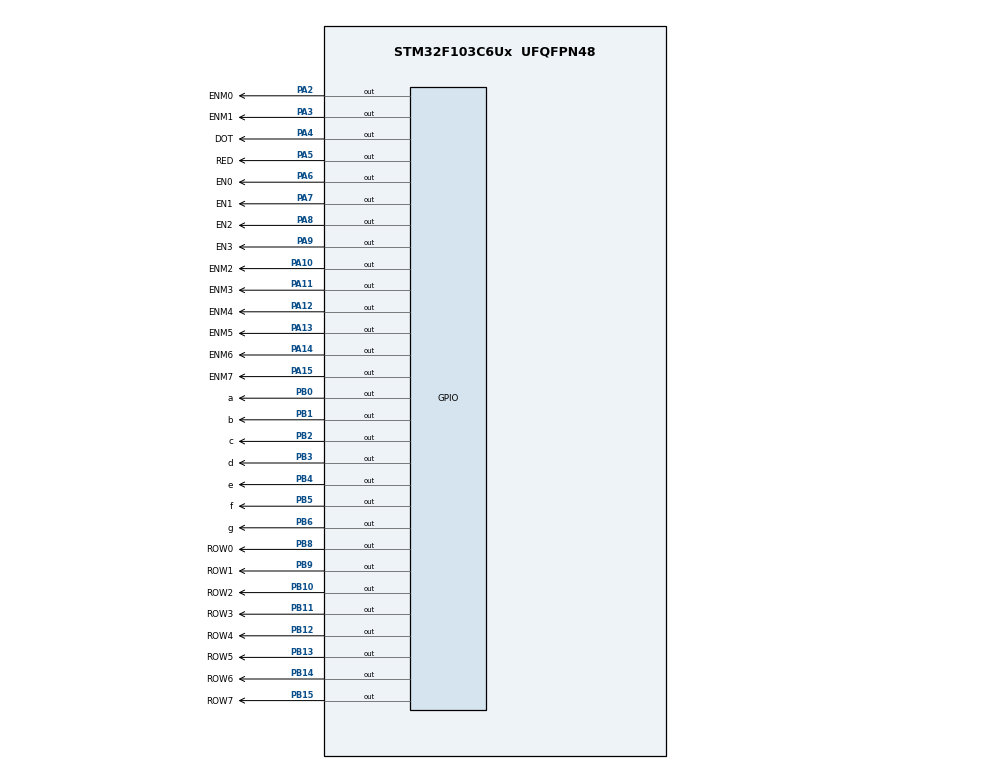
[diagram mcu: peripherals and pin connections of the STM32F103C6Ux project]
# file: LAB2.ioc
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Mcu.Family=STM32F1
Mcu.Name=STM32F103C6Ux
Mcu.Package=UFQFPN48
NVIC.PriorityGroup=NVIC_PRIORITYGROUP_4
NVIC.TIM2_IRQn=true\:0\:0\:false\:false\:true\:true\:true
PA10.GPIO_Label=ENM2
PA10.Signal=GPIO_Output
PA11.GPIO_Label=ENM3
PA11.Signal=GPIO_Output
PA12.GPIO_Label=ENM4
PA12.Signal=GPIO_Output
PA13.GPIO_Label=ENM5
PA13.Signal=GPIO_Output
PA14.GPIO_Label=ENM6
PA14.Signal=GPIO_Output
PA15.GPIO_Label=ENM7
PA15.Signal=GPIO_Output
PA2.GPIO_Label=ENM0
PA2.Signal=GPIO_Output
PA3.GPIO_Label=ENM1
PA3.Signal=GPIO_Output
PA4.GPIO_Label=DOT
PA4.Signal=GPIO_Output
PA5.GPIO_Label=RED
PA5.Signal=GPIO_Output
PA6.GPIO_Label=EN0
PA6.Signal=GPIO_Output
PA7.GPIO_Label=EN1
PA7.Signal=GPIO_Output
PA8.GPIO_Label=EN2
PA8.Signal=GPIO_Output
PA9.GPIO_Label=EN3
PA9.Signal=GPIO_Output
PB0.GPIO_Label=a
PB0.Signal=GPIO_Output
PB1.GPIO_Label=b
PB1.Signal=GPIO_Output
PB10.GPIO_Label=ROW2
PB10.Signal=GPIO_Output
PB11.GPIO_Label=ROW3
PB11.Signal=GPIO_Output
PB12.GPIO_Label=ROW4
PB12.Signal=GPIO_Output
PB13.GPIO_Label=ROW5
PB13.Signal=GPIO_Output
PB14.GPIO_Label=ROW6
PB14.Signal=GPIO_Output
PB15.GPIO_Label=ROW7
PB15.Signal=GPIO_Output
PB2.GPIO_Label=c
PB2.Signal=GPIO_Output
PB3.GPIO_Label=d
PB3.Signal=GPIO_Output
PB4.GPIO_Label=e
PB4.Signal=GPIO_Output
PB5.GPIO_Label=f
PB5.Signal=GPIO_Output
PB6.GPIO_Label=g
PB6.Signal=GPIO_Output
PB8.GPIO_Label=ROW0
PB8.Signal=GPIO_Output
PB9.GPIO_Label=ROW1
PB9.Signal=GPIO_Output
ProjectManager.HeapSize=0x200
ProjectManager.StackSize=0x400
ProjectManager.TargetToolchain=STM32CubeIDE
RCC.APB1Freq_Value=8000000
RCC.APB2Freq_Value=8000000
TIM2.Period=9
TIM2.Prescaler=7999
VP_SYS_VS_ND.Mode=No_Debug
VP_TIM2_VS_ClockSourceINT.Mode=Internal
board=custom

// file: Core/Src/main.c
/* USER CODE BEGIN Header */
/**
  ******************************************************************************
  * @file           : main.c
  * @brief          : Main program body
  ******************************************************************************
  * @attention
  *
  * <h2><center>&copy; Copyright (c) 2024 STMicroelectronics.
  * All rights reserved.</center></h2>
  *
  * This software component is licensed by ST under BSD 3-Clause license,
  * the "License"; You may not use this file except in compliance with the
  * License. You may obtain a copy of the License at:
  *                        opensource.org/licenses/BSD-3-Clause
  *
  ******************************************************************************
  */
/* USER CODE END Header */
#include "main.h"

TIM_HandleTypeDef htim2;

/* USER CODE BEGIN PV */
const int MAX_LED = 4;
int index_led = 0;
int led_buffer[4] = {1, 2, 3, 4};
uint8_t matrix_buffer[8] = {0x18, 0x3c, 0x66, 0x66, 0x7e, 0x7e, 0x66, 0x66};
int hour = 15, minute = 8, second = 50;
/* USER CODE END PV */

void SystemClock_Config(void);
static void MX_GPIO_Init(void);
static void MX_TIM2_Init(void);
/* USER CODE BEGIN PFP */
void updateLEDMatrix(int index);
void displayLEDMatrix(int row, uint8_t col);
void resetLEDMatrix(void);
void update7SEG(int index);
void updateClockBuffer(void);
void display7SEG(int num);
/* USER CODE END PFP */

/* USER CODE BEGIN 0 */
int timer0_flag = 0;
int timer0_counter = 0;

int timer1_flag = 0;
int timer1_counter = 0;

int timer2_flag = 0;
int timer2_counter = 0;

int TIMER_CYCLE = 10;

void setTimer0(int duration)
{
	timer0_counter = duration/TIMER_CYCLE;
	timer0_flag = 0;
}

void setTimer1(int duration)
{
	timer1_counter = duration/TIMER_CYCLE;
	timer1_flag = 0;
}

void setTimer2(int duration)
{
	timer2_counter = duration/TIMER_CYCLE;
	timer2_flag = 0;
}

void timerRun()
{
	if(timer0_counter > 0){
		timer0_counter--;
		if(timer0_counter == 0){
			timer0_flag = 1;
		}
	}

	if(timer1_counter > 0){
		timer1_counter--;
		if(timer1_counter == 0){
			timer1_flag = 1;
		}
	}

	if(timer2_counter > 0){
		timer2_counter--;
		if(timer2_counter == 0){
			timer2_flag = 1;
		}
	}
}
/* USER CODE END 0 */

int main(void)
{

  /* MCU Configuration--------------------------------------------------------*/

  /* Reset of all peripherals, Initializes the Flash interface and the Systick. */
  HAL_Init();

  /* Configure the system clock */
  SystemClock_Config();

  /* Initialize all configured peripherals */
  MX_GPIO_Init();
  MX_TIM2_Init();
  /* USER CODE BEGIN 2 */
  int another_index = 0;
  int index = 0;
  updateClockBuffer();
  update7SEG(0);
  setTimer0(500);
  setTimer1(1000);
  resetLEDMatrix();
  setTimer2(100);
  HAL_TIM_Base_Start_IT(&htim2);
  /* USER CODE END 2 */

  /* Infinite loop */
  while (1)
  {
	  if(timer2_flag == 1)
	  {
		  if(another_index > 7)
		  {
			  another_index = 0;
		  }

		  updateLEDMatrix(another_index++);
		  setTimer2(100);
	  }

	  if(timer0_flag == 1)
	  {
		  if(index > 3)
		  {
			  index = 0;
		  }

		  update7SEG(index++);
		  setTimer0(500);
	  }

	  if(timer1_flag == 1)
	  {
		  HAL_GPIO_TogglePin(RED_GPIO_Port, RED_Pin);
		  HAL_GPIO_TogglePin(DOT_GPIO_Port, DOT_Pin);
		  second++;
		  if (second >= 60)
		  {
			  second = 0;
		  	  minute++;
		  }
		  if(minute >= 60)
		  {
			  minute = 0;
		  	  hour++;
		  }
		  if(hour >= 24)
		  {
			  hour = 0;
		  }
		  updateClockBuffer();
		  setTimer1(1000);
	  }
  }
}

void SystemClock_Config(void)
{
  RCC_OscInitTypeDef RCC_OscInitStruct = {0};
  RCC_ClkInitTypeDef RCC_ClkInitStruct = {0};

  /** Initializes the RCC Oscillators according to the specified parameters
  * in the RCC_OscInitTypeDef structure.
  */
  RCC_OscInitStruct.OscillatorType = RCC_OSCILLATORTYPE_HSI;
  RCC_OscInitStruct.HSIState = RCC_HSI_ON;
  RCC_OscInitStruct.HSICalibrationValue = RCC_HSICALIBRATION_DEFAULT;
  RCC_OscInitStruct.PLL.PLLState = RCC_PLL_NONE;
  if (HAL_RCC_OscConfig(&RCC_OscInitStruct) != HAL_OK)
  {
    Error_Handler();
  }
  /** Initializes the CPU, AHB and APB buses clocks
  */
  RCC_ClkInitStruct.ClockType = RCC_CLOCKTYPE_HCLK|RCC_CLOCKTYPE_SYSCLK
                              |RCC_CLOCKTYPE_PCLK1|RCC_CLOCKTYPE_PCLK2;
  RCC_ClkInitStruct.SYSCLKSource = RCC_SYSCLKSOURCE_HSI;
  RCC_ClkInitStruct.AHBCLKDivider = RCC_SYSCLK_DIV1;
  RCC_ClkInitStruct.APB1CLKDivider = RCC_HCLK_DIV1;
  RCC_ClkInitStruct.APB2CLKDivider = RCC_HCLK_DIV1;

  if (HAL_RCC_ClockConfig(&RCC_ClkInitStruct, FLASH_LATENCY_0) != HAL_OK)
  {
    Error_Handler();
  }
}

static void MX_TIM2_Init(void)
{

  TIM_ClockConfigTypeDef sClockSourceConfig = {0};
  TIM_MasterConfigTypeDef sMasterConfig = {0};

  htim2.Instance = TIM2;
  htim2.Init.Prescaler = 7999;
  htim2.Init.CounterMode = TIM_COUNTERMODE_UP;
  htim2.Init.Period = 9;
  htim2.Init.ClockDivision = TIM_CLOCKDIVISION_DIV1;
  htim2.Init.AutoReloadPreload = TIM_AUTORELOAD_PRELOAD_DISABLE;
  if (HAL_TIM_Base_Init(&htim2) != HAL_OK)
  {
    Error_Handler();
  }
  sClockSourceConfig.ClockSource = TIM_CLOCKSOURCE_INTERNAL;
  if (HAL_TIM_ConfigClockSource(&htim2, &sClockSourceConfig) != HAL_OK)
  {
    Error_Handler();
  }
  sMasterConfig.MasterOutputTrigger = TIM_TRGO_RESET;
  sMasterConfig.MasterSlaveMode = TIM_MASTERSLAVEMODE_DISABLE;
  if (HAL_TIMEx_MasterConfigSynchronization(&htim2, &sMasterConfig) != HAL_OK)
  {
    Error_Handler();
  }

}

static void MX_GPIO_Init(void)
{
  GPIO_InitTypeDef GPIO_InitStruct = {0};

  /* GPIO Ports Clock Enable */
  __HAL_RCC_GPIOA_CLK_ENABLE();
  __HAL_RCC_GPIOB_CLK_ENABLE();

  /*Configure GPIO pin Output Level */
  HAL_GPIO_WritePin(GPIOA, ENM0_Pin|ENM1_Pin|DOT_Pin|RED_Pin
                          |EN0_Pin|EN1_Pin|EN2_Pin|EN3_Pin
                          |ENM2_Pin|ENM3_Pin|ENM4_Pin|ENM5_Pin
                          |ENM6_Pin|ENM7_Pin, GPIO_PIN_RESET);

  /*Configure GPIO pin Output Level */
  HAL_GPIO_WritePin(GPIOB, a_Pin|b_Pin|c_Pin|ROW2_Pin
                          |ROW3_Pin|ROW4_Pin|ROW5_Pin|ROW6_Pin
                          |ROW7_Pin|d_Pin|e_Pin|f_Pin
                          |g_Pin|ROW0_Pin|ROW1_Pin, GPIO_PIN_RESET);

  /*Configure GPIO pins : ENM0_Pin ENM1_Pin DOT_Pin RED_Pin
                           EN0_Pin EN1_Pin EN2_Pin EN3_Pin
                           ENM2_Pin ENM3_Pin ENM4_Pin ENM5_Pin
                           ENM6_Pin ENM7_Pin */
  GPIO_InitStruct.Pin = ENM0_Pin|ENM1_Pin|DOT_Pin|RED_Pin
                          |EN0_Pin|EN1_Pin|EN2_Pin|EN3_Pin
                          |ENM2_Pin|ENM3_Pin|ENM4_Pin|ENM5_Pin
                          |ENM6_Pin|ENM7_Pin;
  GPIO_InitStruct.Mode = GPIO_MODE_OUTPUT_PP;
  GPIO_InitStruct.Pull = GPIO_NOPULL;
  GPIO_InitStruct.Speed = GPIO_SPEED_FREQ_LOW;
  HAL_GPIO_Init(GPIOA, &GPIO_InitStruct);

  /*Configure GPIO pins : a_Pin b_Pin c_Pin ROW2_Pin
                           ROW3_Pin ROW4_Pin ROW5_Pin ROW6_Pin
                           ROW7_Pin d_Pin e_Pin f_Pin
                           g_Pin ROW0_Pin ROW1_Pin */
  GPIO_InitStruct.Pin = a_Pin|b_Pin|c_Pin|ROW2_Pin
                          |ROW3_Pin|ROW4_Pin|ROW5_Pin|ROW6_Pin
                          |ROW7_Pin|d_Pin|e_Pin|f_Pin
                          |g_Pin|ROW0_Pin|ROW1_Pin;
  GPIO_InitStruct.Mode = GPIO_MODE_OUTPUT_PP;
  GPIO_InitStruct.Pull = GPIO_NOPULL;
  GPIO_InitStruct.Speed = GPIO_SPEED_FREQ_LOW;
  HAL_GPIO_Init(GPIOB, &GPIO_InitStruct);

}

/* USER CODE BEGIN 4 */
void HAL_TIM_PeriodElapsedCallback(TIM_HandleTypeDef *htim)
{
	timerRun();
}

void updateClockBuffer(void)
{
	if(hour < 10)
	{
		led_buffer[0] = 0;
		led_buffer[1] = hour%10;
	}
	else
	{
		led_buffer[0] = hour/10;
		led_buffer[1] = hour%10;
	}

	if(minute < 10)
	{
		led_buffer[2] = 0;
		led_buffer[3] = minute%10;
	}
	else
	{
		led_buffer[2] = minute/10;
		led_buffer[3] = minute%10;
	}
}

void update7SEG(int index)
{
	 switch (index)
	 {
	 case 0:
	 {
		 HAL_GPIO_WritePin(EN0_GPIO_Port, EN0_Pin, GPIO_PIN_RESET);
		 HAL_GPIO_WritePin(EN1_GPIO_Port, EN1_Pin, GPIO_PIN_SET);
		 HAL_GPIO_WritePin(EN2_GPIO_Port, EN2_Pin, GPIO_PIN_SET);
		 HAL_GPIO_WritePin(EN3_GPIO_Port, EN3_Pin, GPIO_PIN_SET);
		 display7SEG(led_buffer[index]);
		 break;
	 }
	 case 1:
	 {
		 HAL_GPIO_WritePin(EN0_GPIO_Port, EN0_Pin, GPIO_PIN_SET);
		 HAL_GPIO_WritePin(EN1_GPIO_Port, EN1_Pin, GPIO_PIN_RESET);
		 HAL_GPIO_WritePin(EN2_GPIO_Port, EN2_Pin, GPIO_PIN_SET);
		 HAL_GPIO_WritePin(EN3_GPIO_Port, EN3_Pin, GPIO_PIN_SET);
		 display7SEG(led_buffer[index]);
		 break;
	 }
	 case 2:
	 {
		 HAL_GPIO_WritePin(EN0_GPIO_Port, EN0_Pin, GPIO_PIN_SET);
		 HAL_GPIO_WritePin(EN1_GPIO_Port, EN1_Pin, GPIO_PIN_SET);
		 HAL_GPIO_WritePin(EN2_GPIO_Port, EN2_Pin, GPIO_PIN_RESET);
		 HAL_GPIO_WritePin(EN3_GPIO_Port, EN3_Pin, GPIO_PIN_SET);
		 display7SEG(led_buffer[index]);
		 break;
	 }
	 case 3:
	 {
		 HAL_GPIO_WritePin(EN0_GPIO_Port, EN0_Pin, GPIO_PIN_SET);
		 HAL_GPIO_WritePin(EN1_GPIO_Port, EN1_Pin, GPIO_PIN_SET);
		 HAL_GPIO_WritePin(EN2_GPIO_Port, EN2_Pin, GPIO_PIN_SET);
		 HAL_GPIO_WritePin(EN3_GPIO_Port, EN3_Pin, GPIO_PIN_RESET);
		 display7SEG(led_buffer[index]);
		 break;
	 }
	 }
}

void display7SEG(int num)
{
	HAL_GPIO_WritePin(a_GPIO_Port, a_Pin, GPIO_PIN_SET);
	HAL_GPIO_WritePin(b_GPIO_Port, b_Pin, GPIO_PIN_SET);
	HAL_GPIO_WritePin(c_GPIO_Port, c_Pin, GPIO_PIN_SET);
	HAL_GPIO_WritePin(d_GPIO_Port, d_Pin, GPIO_PIN_SET);
	HAL_GPIO_WritePin(e_GPIO_Port, e_Pin, GPIO_PIN_SET);
	HAL_GPIO_WritePin(f_GPIO_Port, f_Pin, GPIO_PIN_SET);
	HAL_GPIO_WritePin(g_GPIO_Port, g_Pin, GPIO_PIN_SET);

	switch (num)
	{
	case 0:
	{
		HAL_GPIO_TogglePin(a_GPIO_Port, a_Pin);
		HAL_GPIO_TogglePin(b_GPIO_Port, b_Pin);
		HAL_GPIO_TogglePin(c_GPIO_Port, c_Pin);
		HAL_GPIO_TogglePin(d_GPIO_Port, d_Pin);
		HAL_GPIO_TogglePin(e_GPIO_Port, e_Pin);
		HAL_GPIO_TogglePin(f_GPIO_Port, f_Pin);
		break;
	}
	case 1:
	{
		HAL_GPIO_TogglePin(b_GPIO_Port, b_Pin);
		HAL_GPIO_TogglePin(c_GPIO_Port, c_Pin);
		break;
	}
	case 2:
	{
		HAL_GPIO_TogglePin(a_GPIO_Port, a_Pin);
		HAL_GPIO_TogglePin(b_GPIO_Port, b_Pin);
		HAL_GPIO_TogglePin(d_GPIO_Port, d_Pin);
		HAL_GPIO_TogglePin(e_GPIO_Port, e_Pin);
		HAL_GPIO_TogglePin(g_GPIO_Port, g_Pin);
		break;
	}
	case 3:
	{
		HAL_GPIO_TogglePin(a_GPIO_Port, a_Pin);
		HAL_GPIO_TogglePin(b_GPIO_Port, b_Pin);
		HAL_GPIO_TogglePin(c_GPIO_Port, c_Pin);
		HAL_GPIO_TogglePin(d_GPIO_Port, d_Pin);
		HAL_GPIO_TogglePin(g_GPIO_Port, g_Pin);
		break;
	}
	case 4:
	{
		HAL_GPIO_TogglePin(b_GPIO_Port, b_Pin);
		HAL_GPIO_TogglePin(c_GPIO_Port, c_Pin);
		HAL_GPIO_TogglePin(f_GPIO_Port, f_Pin);
		HAL_GPIO_TogglePin(g_GPIO_Port, g_Pin);
		break;
	}
	case 5:
	{
		HAL_GPIO_TogglePin(a_GPIO_Port, a_Pin);
		HAL_GPIO_TogglePin(c_GPIO_Port, c_Pin);
		HAL_GPIO_TogglePin(d_GPIO_Port, d_Pin);
		HAL_GPIO_TogglePin(f_GPIO_Port, f_Pin);
		HAL_GPIO_TogglePin(g_GPIO_Port, g_Pin);
		break;
	}
	case 6:
	{
		HAL_GPIO_TogglePin(a_GPIO_Port, a_Pin);
		HAL_GPIO_TogglePin(c_GPIO_Port, c_Pin);
		HAL_GPIO_TogglePin(d_GPIO_Port, d_Pin);
		HAL_GPIO_TogglePin(e_GPIO_Port, e_Pin);
		HAL_GPIO_TogglePin(f_GPIO_Port, f_Pin);
		HAL_GPIO_TogglePin(g_GPIO_Port, g_Pin);
		break;
	}
	case 7:
	{
		HAL_GPIO_TogglePin(a_GPIO_Port, a_Pin);
		HAL_GPIO_TogglePin(b_GPIO_Port, b_Pin);
		HAL_GPIO_TogglePin(c_GPIO_Port, c_Pin);
		break;
	}
	case 8:
	{
		HAL_GPIO_TogglePin(a_GPIO_Port, a_Pin);
		HAL_GPIO_TogglePin(b_GPIO_Port, b_Pin);
		HAL_GPIO_TogglePin(c_GPIO_Port, c_Pin);
		HAL_GPIO_TogglePin(d_GPIO_Port, d_Pin);
		HAL_GPIO_TogglePin(e_GPIO_Port, e_Pin);
		HAL_GPIO_TogglePin(f_GPIO_Port, f_Pin);
		HAL_GPIO_TogglePin(g_GPIO_Port, g_Pin);
		break;
	}
	case 9:
	{
		HAL_GPIO_TogglePin(a_GPIO_Port, a_Pin);
		HAL_GPIO_TogglePin(b_GPIO_Port, b_Pin);
		HAL_GPIO_TogglePin(c_GPIO_Port, c_Pin);
		HAL_GPIO_TogglePin(d_GPIO_Port, d_Pin);
		HAL_GPIO_TogglePin(f_GPIO_Port, f_Pin);
		HAL_GPIO_TogglePin(g_GPIO_Port, g_Pin);
		break;
	}
	}
}

void resetLEDMatrix(void)
{
	HAL_GPIO_WritePin(ROW0_GPIO_Port, ROW0_Pin, 1);
	HAL_GPIO_WritePin(ROW1_GPIO_Port, ROW1_Pin, 1);
	HAL_GPIO_WritePin(ROW2_GPIO_Port, ROW2_Pin, 1);
	HAL_GPIO_WritePin(ROW3_GPIO_Port, ROW3_Pin, 1);
	HAL_GPIO_WritePin(ROW4_GPIO_Port, ROW4_Pin, 1);
	HAL_GPIO_WritePin(ROW5_GPIO_Port, ROW5_Pin, 1);
	HAL_GPIO_WritePin(ROW6_GPIO_Port, ROW6_Pin, 1);
	HAL_GPIO_WritePin(ROW7_GPIO_Port, ROW7_Pin, 1);
}

void updateLEDMatrix(int index)
{
	switch (index)
	{
	case 0:
	{
		displayLEDMatrix(index, matrix_buffer[index]);
		break;
	}
	case 1:
	{
		displayLEDMatrix(index, matrix_buffer[index]);
		break;
	}
	case 2:
	{
		displayLEDMatrix(index, matrix_buffer[index]);
		break;
	}
	case 3:
	{
		displayLEDMatrix(index, matrix_buffer[index]);
		break;
	}
	case 4:
	{
		displayLEDMatrix(index, matrix_buffer[index]);
		break;
	}
	case 5:
	{
		displayLEDMatrix(index, matrix_buffer[index]);
		break;
	}
	case 6:
	{
		displayLEDMatrix(index, matrix_buffer[index]);
		break;
	}
	case 7:
	{
		displayLEDMatrix(index, matrix_buffer[index]);
		break;
	}
	}
}

void displayLEDMatrix(int row, uint8_t col)
{
	switch (row)
	{
	case 0:
	{
		HAL_GPIO_WritePin(ROW0_GPIO_Port, ROW0_Pin, 0);
		HAL_GPIO_WritePin(ROW1_GPIO_Port, ROW1_Pin, 1);
		HAL_GPIO_WritePin(ROW2_GPIO_Port, ROW2_Pin, 1);
		HAL_GPIO_WritePin(ROW3_GPIO_Port, ROW3_Pin, 1);
		HAL_GPIO_WritePin(ROW4_GPIO_Port, ROW4_Pin, 1);
		HAL_GPIO_WritePin(ROW5_GPIO_Port, ROW5_Pin, 1);
		HAL_GPIO_WritePin(ROW6_GPIO_Port, ROW6_Pin, 1);
		HAL_GPIO_WritePin(ROW7_GPIO_Port, ROW7_Pin, 1);

		HAL_GPIO_WritePin(ENM7_GPIO_Port, ENM7_Pin, (col & 0x01) ^ 0x01);
		col = col >> 1;

		HAL_GPIO_WritePin(ENM6_GPIO_Port, ENM6_Pin, (col & 0x01) ^ 0x01);
		col = col >> 1;

		HAL_GPIO_WritePin(ENM5_GPIO_Port, ENM5_Pin, (col & 0x01) ^ 0x01);
		col = col >> 1;

		HAL_GPIO_WritePin(ENM4_GPIO_Port, ENM4_Pin, (col & 0x01) ^ 0x01);
		col = col >> 1;

		HAL_GPIO_WritePin(ENM3_GPIO_Port, ENM3_Pin, (col & 0x01) ^ 0x01);
		col = col >> 1;

		HAL_GPIO_WritePin(ENM2_GPIO_Port, ENM2_Pin, (col & 0x01) ^ 0x01);
		col = col >> 1;

		HAL_GPIO_WritePin(ENM1_GPIO_Port, ENM1_Pin, (col & 0x01) ^ 0x01);
		col = col >> 1;

		HAL_GPIO_WritePin(ENM0_GPIO_Port, ENM0_Pin, (col & 0x01) ^ 0x01);
		break;
	}
	case 1:
	{
		HAL_GPIO_WritePin(ROW0_GPIO_Port, ROW0_Pin, 1);
		HAL_GPIO_WritePin(ROW1_GPIO_Port, ROW1_Pin, 0);
		HAL_GPIO_WritePin(ROW2_GPIO_Port, ROW2_Pin, 1);
		HAL_GPIO_WritePin(ROW3_GPIO_Port, ROW3_Pin, 1);
		HAL_GPIO_WritePin(ROW4_GPIO_Port, ROW4_Pin, 1);
		HAL_GPIO_WritePin(ROW5_GPIO_Port, ROW5_Pin, 1);
		HAL_GPIO_WritePin(ROW6_GPIO_Port, ROW6_Pin, 1);
		HAL_GPIO_WritePin(ROW7_GPIO_Port, ROW7_Pin, 1);

		HAL_GPIO_WritePin(ENM7_GPIO_Port, ENM7_Pin, (col & 0x01) ^ 0x01);
		col = col >> 1;

		HAL_GPIO_WritePin(ENM6_GPIO_Port, ENM6_Pin, (col & 0x01) ^ 0x01);
		col = col >> 1;

		HAL_GPIO_WritePin(ENM5_GPIO_Port, ENM5_Pin, (col & 0x01) ^ 0x01);
		col = col >> 1;

		HAL_GPIO_WritePin(ENM4_GPIO_Port, ENM4_Pin, (col & 0x01) ^ 0x01);
		col = col >> 1;

		HAL_GPIO_WritePin(ENM3_GPIO_Port, ENM3_Pin, (col & 0x01) ^ 0x01);
		col = col >> 1;

		HAL_GPIO_WritePin(ENM2_GPIO_Port, ENM2_Pin, (col & 0x01) ^ 0x01);
		col = col >> 1;

		HAL_GPIO_WritePin(ENM1_GPIO_Port, ENM1_Pin, (col & 0x01) ^ 0x01);
		col = col >> 1;

		HAL_GPIO_WritePin(ENM0_GPIO_Port, ENM0_Pin, (col & 0x01) ^ 0x01);
		break;
	}
	case 2:
	{
		HAL_GPIO_WritePin(ROW0_GPIO_Port, ROW0_Pin, 1);
		HAL_GPIO_WritePin(ROW1_GPIO_Port, ROW1_Pin, 1);
		HAL_GPIO_WritePin(ROW2_GPIO_Port, ROW2_Pin, 0);
		HAL_GPIO_WritePin(ROW3_GPIO_Port, ROW3_Pin, 1);
		HAL_GPIO_WritePin(ROW4_GPIO_Port, ROW4_Pin, 1);
		HAL_GPIO_WritePin(ROW5_GPIO_Port, ROW5_Pin, 1);
		HAL_GPIO_WritePin(ROW6_GPIO_Port, ROW6_Pin, 1);
		HAL_GPIO_WritePin(ROW7_GPIO_Port, ROW7_Pin, 1);

		HAL_GPIO_WritePin(ENM7_GPIO_Port, ENM7_Pin, (col & 0x01) ^ 0x01);
		col = col >> 1;

		HAL_GPIO_WritePin(ENM6_GPIO_Port, ENM6_Pin, (col & 0x01) ^ 0x01);
		col = col >> 1;

		HAL_GPIO_WritePin(ENM5_GPIO_Port, ENM5_Pin, (col & 0x01) ^ 0x01);
		col = col >> 1;

		HAL_GPIO_WritePin(ENM4_GPIO_Port, ENM4_Pin, (col & 0x01) ^ 0x01);
		col = col >> 1;

		HAL_GPIO_WritePin(ENM3_GPIO_Port, ENM3_Pin, (col & 0x01) ^ 0x01);
		col = col >> 1;

		HAL_GPIO_WritePin(ENM2_GPIO_Port, ENM2_Pin, (col & 0x01) ^ 0x01);
		col = col >> 1;

		HAL_GPIO_WritePin(ENM1_GPIO_Port, ENM1_Pin, (col & 0x01) ^ 0x01);
		col = col >> 1;

		HAL_GPIO_WritePin(ENM0_GPIO_Port, ENM0_Pin, (col & 0x01) ^ 0x01);
		break;
	}
	case 3:
	{
		HAL_GPIO_WritePin(ROW0_GPIO_Port, ROW0_Pin, 1);
		HAL_GPIO_WritePin(ROW1_GPIO_Port, ROW1_Pin, 1);
		HAL_GPIO_WritePin(ROW2_GPIO_Port, ROW2_Pin, 1);
		HAL_GPIO_WritePin(ROW3_GPIO_Port, ROW3_Pin, 0);
		HAL_GPIO_WritePin(ROW4_GPIO_Port, ROW4_Pin, 1);
		HAL_GPIO_WritePin(ROW5_GPIO_Port, ROW5_Pin, 1);
		HAL_GPIO_WritePin(ROW6_GPIO_Port, ROW6_Pin, 1);
		HAL_GPIO_WritePin(ROW7_GPIO_Port, ROW7_Pin, 1);

		HAL_GPIO_WritePin(ENM7_GPIO_Port, ENM7_Pin, (col & 0x01) ^ 0x01);
		col = col >> 1;

		HAL_GPIO_WritePin(ENM6_GPIO_Port, ENM6_Pin, (col & 0x01) ^ 0x01);
		col = col >> 1;

		HAL_GPIO_WritePin(ENM5_GPIO_Port, ENM5_Pin, (col & 0x01) ^ 0x01);
		col = col >> 1;

		HAL_GPIO_WritePin(ENM4_GPIO_Port, ENM4_Pin, (col & 0x01) ^ 0x01);
		col = col >> 1;

		HAL_GPIO_WritePin(ENM3_GPIO_Port, ENM3_Pin, (col & 0x01) ^ 0x01);
		col = col >> 1;

		HAL_GPIO_WritePin(ENM2_GPIO_Port, ENM2_Pin, (col & 0x01) ^ 0x01);
		col = col >> 1;

		HAL_GPIO_WritePin(ENM1_GPIO_Port, ENM1_Pin, (col & 0x01) ^ 0x01);
		col = col >> 1;

		HAL_GPIO_WritePin(ENM0_GPIO_Port, ENM0_Pin, (col & 0x01) ^ 0x01);
		break;
	}
	case 4:
	{
		HAL_GPIO_WritePin(ROW0_GPIO_Port, ROW0_Pin, 1);
		HAL_GPIO_WritePin(ROW1_GPIO_Port, ROW1_Pin, 1);
		HAL_GPIO_WritePin(ROW2_GPIO_Port, ROW2_Pin, 1);
		HAL_GPIO_WritePin(ROW3_GPIO_Port, ROW3_Pin, 1);
		HAL_GPIO_WritePin(ROW4_GPIO_Port, ROW4_Pin, 0);
		HAL_GPIO_WritePin(ROW5_GPIO_Port, ROW5_Pin, 1);
		HAL_GPIO_WritePin(ROW6_GPIO_Port, ROW6_Pin, 1);
		HAL_GPIO_WritePin(ROW7_GPIO_Port, ROW7_Pin, 1);

		HAL_GPIO_WritePin(ENM7_GPIO_Port, ENM7_Pin, (col & 0x01) ^ 0x01);
		col = col >> 1;

		HAL_GPIO_WritePin(ENM6_GPIO_Port, ENM6_Pin, (col & 0x01) ^ 0x01);
		col = col >> 1;

		HAL_GPIO_WritePin(ENM5_GPIO_Port, ENM5_Pin, (col & 0x01) ^ 0x01);
		col = col >> 1;

		HAL_GPIO_WritePin(ENM4_GPIO_Port, ENM4_Pin, (col & 0x01) ^ 0x01);
		col = col >> 1;

		HAL_GPIO_WritePin(ENM3_GPIO_Port, ENM3_Pin, (col & 0x01) ^ 0x01);
		col = col >> 1;

		HAL_GPIO_WritePin(ENM2_GPIO_Port, ENM2_Pin, (col & 0x01) ^ 0x01);
		col = col >> 1;

		HAL_GPIO_WritePin(ENM1_GPIO_Port, ENM1_Pin, (col & 0x01) ^ 0x01);
		col = col >> 1;

		HAL_GPIO_WritePin(ENM0_GPIO_Port, ENM0_Pin, (col & 0x01) ^ 0x01);
		break;
	}
	case 5:
	{
		HAL_GPIO_WritePin(ROW0_GPIO_Port, ROW0_Pin, 1);
		HAL_GPIO_WritePin(ROW1_GPIO_Port, ROW1_Pin, 1);
		HAL_GPIO_WritePin(ROW2_GPIO_Port, ROW2_Pin, 1);
		HAL_GPIO_WritePin(ROW3_GPIO_Port, ROW3_Pin, 1);
		HAL_GPIO_WritePin(ROW4_GPIO_Port, ROW4_Pin, 1);
		HAL_GPIO_WritePin(ROW5_GPIO_Port, ROW5_Pin, 0);
		HAL_GPIO_WritePin(ROW6_GPIO_Port, ROW6_Pin, 1);
		HAL_GPIO_WritePin(ROW7_GPIO_Port, ROW7_Pin, 1);

		HAL_GPIO_WritePin(ENM7_GPIO_Port, ENM7_Pin, (col & 0x01) ^ 0x01);
		col = col >> 1;

		HAL_GPIO_WritePin(ENM6_GPIO_Port, ENM6_Pin, (col & 0x01) ^ 0x01);
		col = col >> 1;

		HAL_GPIO_WritePin(ENM5_GPIO_Port, ENM5_Pin, (col & 0x01) ^ 0x01);
		col = col >> 1;

		HAL_GPIO_WritePin(ENM4_GPIO_Port, ENM4_Pin, (col & 0x01) ^ 0x01);
		col = col >> 1;

		HAL_GPIO_WritePin(ENM3_GPIO_Port, ENM3_Pin, (col & 0x01) ^ 0x01);
		col = col >> 1;

		HAL_GPIO_WritePin(ENM2_GPIO_Port, ENM2_Pin, (col & 0x01) ^ 0x01);
		col = col >> 1;

		HAL_GPIO_WritePin(ENM1_GPIO_Port, ENM1_Pin, (col & 0x01) ^ 0x01);
		col = col >> 1;

		HAL_GPIO_WritePin(ENM0_GPIO_Port, ENM0_Pin, (col & 0x01) ^ 0x01);
		break;
	}
	case 6:
	{
		HAL_GPIO_WritePin(ROW0_GPIO_Port, ROW0_Pin, 1);
		HAL_GPIO_WritePin(ROW1_GPIO_Port, ROW1_Pin, 1);
		HAL_GPIO_WritePin(ROW2_GPIO_Port, ROW2_Pin, 1);
		HAL_GPIO_WritePin(ROW3_GPIO_Port, ROW3_Pin, 1);
		HAL_GPIO_WritePin(ROW4_GPIO_Port, ROW4_Pin, 1);
		HAL_GPIO_WritePin(ROW5_GPIO_Port, ROW5_Pin, 1);
		HAL_GPIO_WritePin(ROW6_GPIO_Port, ROW6_Pin, 0);
		HAL_GPIO_WritePin(ROW7_GPIO_Port, ROW7_Pin, 1);

		HAL_GPIO_WritePin(ENM7_GPIO_Port, ENM7_Pin, (col & 0x01) ^ 0x01);
		col = col >> 1;

		HAL_GPIO_WritePin(ENM6_GPIO_Port, ENM6_Pin, (col & 0x01) ^ 0x01);
		col = col >> 1;

		HAL_GPIO_WritePin(ENM5_GPIO_Port, ENM5_Pin, (col & 0x01) ^ 0x01);
		col = col >> 1;

		HAL_GPIO_WritePin(ENM4_GPIO_Port, ENM4_Pin, (col & 0x01) ^ 0x01);
		col = col >> 1;

		HAL_GPIO_WritePin(ENM3_GPIO_Port, ENM3_Pin, (col & 0x01) ^ 0x01);
		col = col >> 1;

		HAL_GPIO_WritePin(ENM2_GPIO_Port, ENM2_Pin, (col & 0x01) ^ 0x01);
		col = col >> 1;

		HAL_GPIO_WritePin(ENM1_GPIO_Port, ENM1_Pin, (col & 0x01) ^ 0x01);
		col = col >> 1;

		HAL_GPIO_WritePin(ENM0_GPIO_Port, ENM0_Pin, (col & 0x01) ^ 0x01);
		break;
	}
	case 7:
	{
		HAL_GPIO_WritePin(ROW0_GPIO_Port, ROW0_Pin, 1);
		HAL_GPIO_WritePin(ROW1_GPIO_Port, ROW1_Pin, 1);
		HAL_GPIO_WritePin(ROW2_GPIO_Port, ROW2_Pin, 1);
		HAL_GPIO_WritePin(ROW3_GPIO_Port, ROW3_Pin, 1);
		HAL_GPIO_WritePin(ROW4_GPIO_Port, ROW4_Pin, 1);
		HAL_GPIO_WritePin(ROW5_GPIO_Port, ROW5_Pin, 1);
		HAL_GPIO_WritePin(ROW6_GPIO_Port, ROW6_Pin, 1);
		HAL_GPIO_WritePin(ROW7_GPIO_Port, ROW7_Pin, 0);

		HAL_GPIO_WritePin(ENM7_GPIO_Port, ENM7_Pin, (col & 0x01) ^ 0x01);
		col = col >> 1;

		HAL_GPIO_WritePin(ENM6_GPIO_Port, ENM6_Pin, (col & 0x01) ^ 0x01);
		col = col >> 1;

		HAL_GPIO_WritePin(ENM5_GPIO_Port, ENM5_Pin, (col & 0x01) ^ 0x01);
		col = col >> 1;

		HAL_GPIO_WritePin(ENM4_GPIO_Port, ENM4_Pin, (col & 0x01) ^ 0x01);
		col = col >> 1;

		HAL_GPIO_WritePin(ENM3_GPIO_Port, ENM3_Pin, (col & 0x01) ^ 0x01);
		col = col >> 1;

		HAL_GPIO_WritePin(ENM2_GPIO_Port, ENM2_Pin, (col & 0x01) ^ 0x01);
		col = col >> 1;

		HAL_GPIO_WritePin(ENM1_GPIO_Port, ENM1_Pin, (col & 0x01) ^ 0x01);
		col = col >> 1;

		HAL_GPIO_WritePin(ENM0_GPIO_Port, ENM0_Pin, (col & 0x01) ^ 0x01);
		break;
	}
	}
}
/* USER CODE END 4 */

void Error_Handler(void)
{
  __disable_irq();
  while (1)
  {
  }
}

/************************ (C) COPYRIGHT STMicroelectronics *****END OF FILE****/
